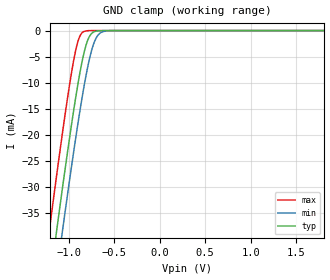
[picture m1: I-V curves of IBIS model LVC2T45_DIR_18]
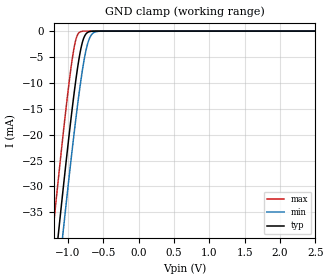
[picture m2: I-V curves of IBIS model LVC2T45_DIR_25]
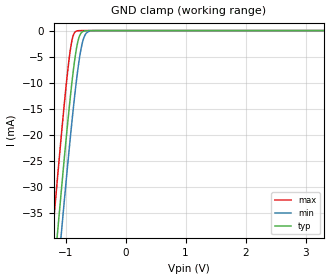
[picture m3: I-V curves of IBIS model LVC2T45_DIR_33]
| TEXAS INSTRUMENTS INCORPORATED
| Standard Linear and Logic Group
| IBIS Model of SN74LVC2T45
| 2-Bit Dual Supply Transceiver with Configurable Output Voltage
| This file contains package information for the following:
|  DSBGA 8-pin (YEP) package as [Component] LVC2T45_YEP
|  DSBGA 8-pin (YZP) package as [Component] LVC2T45_YZP
|  SOT 8-pin (DCT) package as [Component] LVC2T45_DCT
|  SOT 8-pin (DCU) package as [Component] LVC2T45_DCU
| This device can be powered at the following Vccs:
|  1.8 volt Vcc
|  2.5 volt Vcc
|  3.3 volt Vcc
|  5 volt Vcc
| This file provides unique models under the [Model Selector] for each Vcc.
| For operation at a specific Vcc, select the appropriate model after each
| [Model Selector] keyword.
[IBIS Ver]   3.2
[Comment char]  |_char
[File Name]   sn74lvc2t45.ibs
[File Rev]   1.2 | x_die
[Date]   April 30, 2004
[Source]   Data created from TI-SPICE simulations at TI-SLL.
[Notes]   The following is an IBIS list for the LVC2T45.
   Please contact sllibis@ti.com with questions and
   comments concerning SLL IBIS models.
   - FILE REV HISTORY
   - 1.1 Release IBIS file on 02/05/04
   - 1.2 YEP and YZP packages released 04/30/04
   - Due to the fact that the Device is 5-V Input/Output
   tolarent, the output model has some Non-Monotonic Warnings.
   - Power clamp data deleted as there is no power-clamp diode.
[Disclaimer] Property of Texas Instruments Incorporated.  Unauthorized
                reproduction and/or distribution is strictly prohibited.
                This product is protected under copyright law.
                Created  2003, (C) Copyright  2003, Texas Instruments
                Incorporated, All Rights Reserved
                UNLESS THERE IS A SIGNED, WRITTEN AGREEMENT TO THE
                CONTRARY, TEXAS INSTRUMENTS (TI) IS PROVIDING THE IBIS
                MODELS  AND WITHOUT ANY WARRANTY, EXPRESSED OR
                IMPLIED.  TI assumes no liability for:
                 1) the accuracy of the IBIS models provided to your
                    company;
                 2) the proper functioning of these IBIS Models in your
                    design or for any resulting applications; or
                 3) infringement of patents, copyrights or intellectual
                    property rights resulting from your use of these IBIS
                    models.
                TI provides IBIS Models as a service to our customers.
                You and your company shall not distribute, sell or give
                these models to anyone else without prior written
                permission from TI.
                TI reserves the right to make changes to our products or
                to discontinue any semiconductor product or service
                without notice, and advises our customers to obtain the
                latest version of relevant information to verify, before
                placing orders, that the information being relied on is
                current.
                Please be aware that your receipt and use of the IBIS
                information provided shall serve as acceptance of these
                terms and conditions.  If you do not accept these terms,
                you should return or destroy the IBIS models and any
                other accompanying information immediately.
| Component LVC2T45_YEP 8-pin DSBGA
[Component]   LVC2T45_YEP
[Manufacturer]   Texas Instruments, Inc.
[Package]
|   typ   min   max
R_pkg   1.000e-03   1.000e-03   1.000e-03
L_pkg   2.450e-11   2.400e-11   2.500e-11
C_pkg   6.550e-14   6.400e-14   6.700e-14
[Pin]   signal_name   model_name   R_pin   L_pin   C_pin
1   VCCA   POWER   1.000e-03   2.500e-11   6.400e-14
2   A1   LVC2T45_IO_A   1.000e-03   2.400e-11   6.700e-14
3   A2   LVC2T45_IO_A   1.000e-03   2.400e-11   6.700e-14
4   GND   GND   1.000e-03   2.500e-11   6.400e-14
5   DIR   LVC2T45_DIR   1.000e-03   2.500e-11   6.400e-14
6   B2   LVC2T45_IO_B   1.000e-03   2.400e-11   6.700e-14
7   B1   LVC2T45_IO_B   1.000e-03   2.400e-11   6.700e-14
8   VCCB   POWER   1.000e-03   2.500e-11   6.400e-14
| Component LVC2T45_YZP 8-pin DSBGA
[Component]   LVC2T45_YZP
[Manufacturer]   Texas Instruments, Inc.
[Package]
|   typ   min   max
R_pkg   1.000e-03   1.000e-03   1.000e-03
L_pkg   2.450e-11   2.400e-11   2.500e-11
C_pkg   6.550e-14   6.400e-14   6.700e-14
[Pin]   signal_name   model_name   R_pin   L_pin   C_pin
1   VCCA   POWER   1.000e-03   2.500e-11   6.400e-14
2   A1   LVC2T45_IO_A   1.000e-03   2.400e-11   6.700e-14
3   A2   LVC2T45_IO_A   1.000e-03   2.400e-11   6.700e-14
4   GND   GND   1.000e-03   2.500e-11   6.400e-14
5   DIR   LVC2T45_DIR   1.000e-03   2.500e-11   6.400e-14
6   B2   LVC2T45_IO_B   1.000e-03   2.400e-11   6.700e-14
7   B1   LVC2T45_IO_B   1.000e-03   2.400e-11   6.700e-14
8   VCCB   POWER   1.000e-03   2.500e-11   6.400e-14
| Component LVC2T45_DCT 8-pin SOT
[Component]   LVC2T45_DCT
[Manufacturer]   Texas Instruments, Inc.
[Package]
|   typ   min   max
R_pkg   2.900e-02   2.800e-02   3.100e-02
L_pkg   1.796e-09   1.666e-09   1.924e-09
C_pkg   2.310e-13   2.210e-13   2.420e-13
[Pin]   signal_name   model_name   R_pin   L_pin   C_pin
1   VCCA   POWER   3.100e-02   1.894e-09   2.230e-13
2   A1   LVC2T45_IO_A   2.800e-02   1.697e-09   2.370e-13
3   A2   LVC2T45_IO_A   3.000e-02   1.722e-09   2.390e-13
4   GND   GND   3.000e-02   1.861e-09   2.210e-13
5   DIR   LVC2T45_DIR   2.800e-02   1.924e-09   2.280e-13
6   B2   LVC2T45_IO_B   2.900e-02   1.736e-09   2.420e-13
7   B1   LVC2T45_IO_B   2.800e-02   1.666e-09   2.360e-13
8   VCCB   POWER   3.000e-02   1.871e-09   2.220e-13
| Component LVC2T45_DCU 8-pin SOT
[Component]   LVC2T45_DCU
[Manufacturer]   Texas Instruments, Inc.
[Package]
|   typ   min   max
R_pkg   2.600e-02   2.300e-02   3.800e-02
L_pkg   1.394e-09   1.066e-09   2.046e-09
C_pkg   2.590e-13   2.150e-13   3.720e-13
[Pin]   signal_name   model_name   R_pin   L_pin   C_pin
1   VCCA   POWER   2.400e-02   1.520e-09   2.710e-13
2   A1   LVC2T45_IO_A   2.300e-02   1.112e-09   2.180e-13
3   A2   LVC2T45_IO_A   2.300e-02   1.070e-09   2.170e-13
4   GND   GND   2.700e-02   2.046e-09   3.720e-13
5   DIR   LVC2T45_DIR   2.700e-02   1.542e-09   2.730e-13
6   B2   LVC2T45_IO_B   2.300e-02   1.100e-09   2.240e-13
7   B1   LVC2T45_IO_B   2.300e-02   1.066e-09   2.150e-13
8   VCCB   POWER   3.800e-02   1.696e-09   2.800e-13
| Model LVC2T45_DIR
[Model Selector]   LVC2T45_DIR
LVC2T45_DIR_18   1.8 volt Vcc
LVC2T45_DIR_25   2.5 volt Vcc
LVC2T45_DIR_33   3.3 volt Vcc
LVC2T45_DIR_50   5 volt Vcc
| Model LVC2T45_IO_A
[Model Selector]   LVC2T45_IO_A
LVC2T45_IO_A_18   1.8 volt Vcc
LVC2T45_IO_A_25   2.5 volt Vcc
LVC2T45_IO_A_33   3.3 volt Vcc
LVC2T45_IO_A_50   5 volt Vcc
| Model LVC2T45_IO_B
[Model Selector]   LVC2T45_IO_B
LVC2T45_IO_B_18   1.8 volt Vcc
LVC2T45_IO_B_25   2.5 volt Vcc
LVC2T45_IO_B_33   3.3 volt Vcc
LVC2T45_IO_B_50   5 volt Vcc
| Models and submodels in the file (12): LVC2T45_DIR_18 (Input), LVC2T45_DIR_25 (Input), LVC2T45_DIR_33 (Input), LVC2T45_DIR_50 (Input), LVC2T45_IO_A_18 (I/O), LVC2T45_IO_A_25 (I/O), LVC2T45_IO_A_33 (I/O), LVC2T45_IO_A_50 (I/O), LVC2T45_IO_B_18 (I/O), LVC2T45_IO_B_25 (I/O), LVC2T45_IO_B_33 (I/O), LVC2T45_IO_B_50 (I/O)
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[Model]   LVC2T45_DIR_18
Model_type  Input
Vinl=0.5775
Vinh=1.2675
| variable   typ   min   max
C_comp   3.34pF   2.91pF   4.03pF
[Temperature Range]   40   100   -40
| Ambient temperature   25   85   -40
[Voltage range]   1.8   1.65   1.95
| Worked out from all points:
|   GND clamp passes 1 mA (typ) near -0.77 V on its own axis
[GND Clamp]
| LVC2T45_DIR_18
|   Voltage   I(typ)   I(min)   I(max)
-5.5V     -655.2mA   -662.2mA   -646.6mA
-1.215V   -49.6mA    -57.88mA   -38.96mA
-1.135V   -39.07mA   -47.36mA   -28.42mA
-1.075V   -31.35mA   -39.6mA    -20.75mA
-1.055V   -28.82mA   -37.05mA   -18.27mA
-955mV    -16.68mA   -24.66mA   -6.874mA
-885mV    -9.098mA   -16.55mA   -1.486mA
-825mV    -3.922mA   -10.26mA   -137.1uA
-780mV    -1.472mA   -6.227mA   -17.15uA
-715mV    -205.4uA   -2.128mA   -808.5nA
-650mV    -22.01uA   -443.9uA   -37.93nA
1.8V      3.326pA    6.142pA    3.026pA
[Model]   LVC2T45_DIR_25
Model_type  Input
Vinl=0.7
Vinh=1.7
| variable   typ   min   max
C_comp   3.24pF   2.69pF   4.07pF
[Temperature Range]   40   100   -40
| Ambient temperature   25   85   -40
[Voltage range]   2.5   2.3   2.7
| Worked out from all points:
|   GND clamp passes 1 mA (typ) near -0.77 V on its own axis
[GND Clamp]
| LVC2T45_DIR_25
|   Voltage   I(typ)   I(min)   I(max)
-5.5V     -655.2mA   -662.2mA   -646.6mA
-1.215V   -49.6mA    -57.88mA   -38.96mA
-1.14V    -39.72mA   -48.01mA   -29.07mA
-1.12V    -37.12mA   -45.41mA   -26.48mA
-1.08V    -31.98mA   -40.25mA   -21.38mA
-1.06V    -29.44mA   -37.69mA   -18.89mA
-960mV    -17.26mA   -25.26mA   -7.377mA
-890mV    -9.597mA   -17.1mA    -1.734mA
-785mV    -1.671mA   -6.635mA   -21.67uA
-720mV    -242.5uA   -2.354mA   -1.023uA
-650mV    -22.01uA   -443.9uA   -37.93nA
2.5V      4.713pA    7.577pA    4.389pA
[Model]   LVC2T45_DIR_33
Model_type  Input
Vinl=0.8
Vinh=2.0
| variable   typ   min   max
C_comp   3.15pF   2.57pF   4.08pF
[Temperature Range]   40   100   -40
| Ambient temperature   25   85   -40
[Voltage range]   3.3   3   3.6
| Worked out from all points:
|   GND clamp passes 1 mA (typ) near -0.77 V on its own axis
[GND Clamp]
| LVC2T45_DIR_33
|   Voltage   I(typ)   I(min)   I(max)
-5.5V     -655.2mA   -662.2mA   -646.6mA
-1.225V   -50.93mA   -59.21mA   -40.3mA
-1.145V   -40.37mA   -48.66mA   -29.72mA
-1.12V    -37.12mA   -45.41mA   -26.48mA
-1.08V    -31.98mA   -40.25mA   -21.38mA
-1.06V    -29.44mA   -37.69mA   -18.89mA
-965mV    -17.84mA   -25.87mA   -7.89mA
-885mV    -9.098mA   -16.55mA   -1.486mA
-780mV    -1.472mA   -6.227mA   -17.15uA
-715mV    -205.4uA   -2.128mA   -808.5nA
-640mV    -15.53uA   -338.1uA   -23.69nA
3.3V      6.304pA    9.258pA    5.93pA
